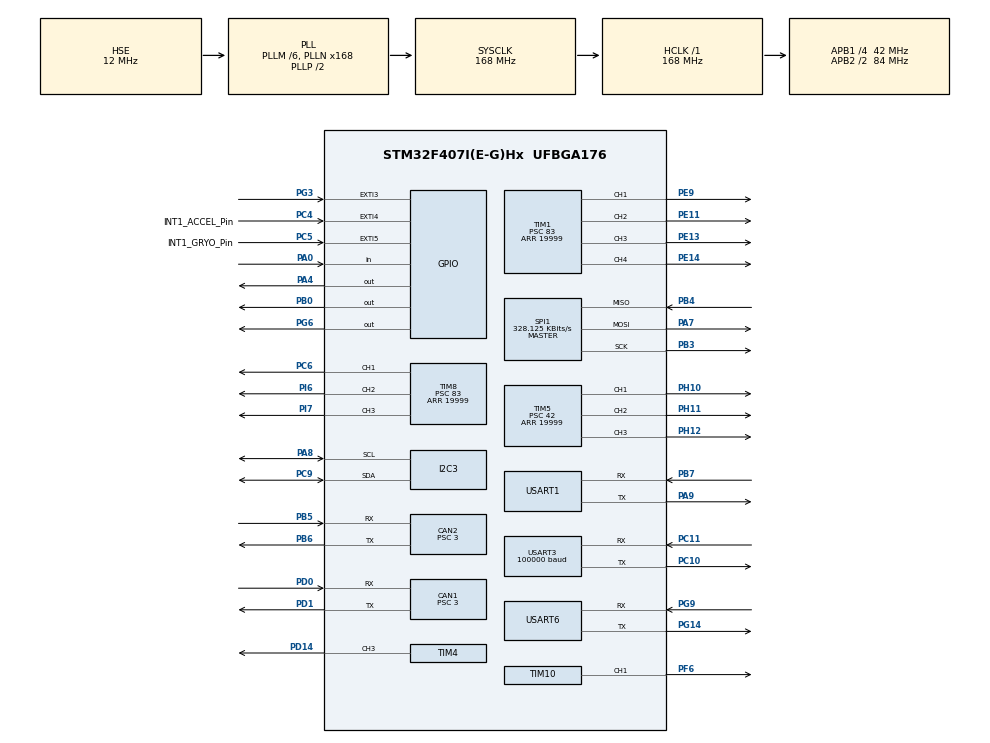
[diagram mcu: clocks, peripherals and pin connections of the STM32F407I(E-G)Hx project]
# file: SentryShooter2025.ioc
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CAN1.BS1=CAN_BS1_10TQ
CAN1.BS2=CAN_BS2_3TQ
CAN1.CalculateBaudRate=1000000
CAN1.CalculateTimeBit=1000
CAN1.CalculateTimeQuantum=71.42857142857143
CAN1.Prescaler=3
CAN2.BS1=CAN_BS1_10TQ
CAN2.BS2=CAN_BS2_3TQ
CAN2.CalculateBaudRate=1000000
CAN2.CalculateTimeBit=1000
CAN2.CalculateTimeQuantum=71.42857142857143
CAN2.Prescaler=3
Dma.Request0=USART3_RX
Dma.Request1=USART1_TX
Dma.Request2=USART1_RX
Dma.Request3=USART6_RX
Dma.Request4=USART6_TX
Dma.USART1_RX.2.Direction=DMA_PERIPH_TO_MEMORY
Dma.USART1_RX.2.FIFOMode=DMA_FIFOMODE_DISABLE
Dma.USART1_RX.2.Instance=DMA2_Stream2
Dma.USART1_RX.2.MemDataAlignment=DMA_MDATAALIGN_BYTE
Dma.USART1_RX.2.MemInc=DMA_MINC_ENABLE
Dma.USART1_RX.2.Mode=DMA_NORMAL
Dma.USART1_RX.2.PeriphDataAlignment=DMA_PDATAALIGN_BYTE
Dma.USART1_RX.2.PeriphInc=DMA_PINC_DISABLE
Dma.USART1_RX.2.Priority=DMA_PRIORITY_VERY_HIGH
Dma.USART1_TX.1.Direction=DMA_MEMORY_TO_PERIPH
Dma.USART1_TX.1.FIFOMode=DMA_FIFOMODE_DISABLE
Dma.USART1_TX.1.Instance=DMA2_Stream7
Dma.USART1_TX.1.MemDataAlignment=DMA_MDATAALIGN_BYTE
Dma.USART1_TX.1.MemInc=DMA_MINC_ENABLE
Dma.USART1_TX.1.Mode=DMA_NORMAL
Dma.USART1_TX.1.PeriphDataAlignment=DMA_PDATAALIGN_BYTE
Dma.USART1_TX.1.PeriphInc=DMA_PINC_DISABLE
Dma.USART1_TX.1.Priority=DMA_PRIORITY_VERY_HIGH
Dma.USART3_RX.0.Direction=DMA_PERIPH_TO_MEMORY
Dma.USART3_RX.0.FIFOMode=DMA_FIFOMODE_DISABLE
Dma.USART3_RX.0.Instance=DMA1_Stream1
Dma.USART3_RX.0.MemDataAlignment=DMA_MDATAALIGN_BYTE
Dma.USART3_RX.0.MemInc=DMA_MINC_ENABLE
Dma.USART3_RX.0.Mode=DMA_CIRCULAR
Dma.USART3_RX.0.PeriphDataAlignment=DMA_PDATAALIGN_BYTE
Dma.USART3_RX.0.PeriphInc=DMA_PINC_DISABLE
Dma.USART3_RX.0.Priority=DMA_PRIORITY_VERY_HIGH
Dma.USART6_RX.3.Direction=DMA_PERIPH_TO_MEMORY
Dma.USART6_RX.3.FIFOMode=DMA_FIFOMODE_DISABLE
Dma.USART6_RX.3.Instance=DMA2_Stream1
Dma.USART6_RX.3.MemDataAlignment=DMA_MDATAALIGN_BYTE
Dma.USART6_RX.3.MemInc=DMA_MINC_ENABLE
Dma.USART6_RX.3.Mode=DMA_NORMAL
Dma.USART6_RX.3.PeriphDataAlignment=DMA_PDATAALIGN_BYTE
Dma.USART6_RX.3.PeriphInc=DMA_PINC_DISABLE
Dma.USART6_RX.3.Priority=DMA_PRIORITY_VERY_HIGH
Dma.USART6_TX.4.Direction=DMA_MEMORY_TO_PERIPH
Dma.USART6_TX.4.FIFOMode=DMA_FIFOMODE_DISABLE
Dma.USART6_TX.4.Instance=DMA2_Stream6
Dma.USART6_TX.4.MemDataAlignment=DMA_MDATAALIGN_BYTE
Dma.USART6_TX.4.MemInc=DMA_MINC_ENABLE
Dma.USART6_TX.4.Mode=DMA_NORMAL
Dma.USART6_TX.4.PeriphDataAlignment=DMA_PDATAALIGN_BYTE
Dma.USART6_TX.4.PeriphInc=DMA_PINC_DISABLE
Dma.USART6_TX.4.Priority=DMA_PRIORITY_VERY_HIGH
FREERTOS.INCLUDE_pcTaskGetTaskName=1
FREERTOS.INCLUDE_xTaskGetHandle=1
FREERTOS.Tasks01=defaultTask,32,1024,TaskMain,Default,NULL,Dynamic,NULL,NULL;chassisTask,40,1024,TaskChassis,Default,NULL,Dynamic,NULL,NULL;IMUtempPIDtask,24,512,imu_temp_control_task,As weak,NULL,Dynamic,NULL,NULL;turretTask,24,1024,TaskTurret,Default,NULL,Dynamic,NULL,NULL
FREERTOS.configUSE_NEWLIB_REENTRANT=1
I2C3.I2C_Mode=I2C_Fast
Mcu.Family=STM32F4
Mcu.Name=STM32F407I(E-G)Hx
Mcu.Package=UFBGA176
NVIC.CAN1_RX0_IRQn=true\:5\:0\:false\:false\:true\:true\:true\:true\:true
NVIC.CAN2_RX0_IRQn=true\:5\:0\:false\:false\:true\:true\:true\:true\:true
NVIC.DMA1_Stream1_IRQn=true\:5\:0\:false\:false\:true\:true\:false\:true\:true
NVIC.DMA2_Stream1_IRQn=true\:5\:0\:false\:false\:true\:true\:false\:true\:true
NVIC.DMA2_Stream2_IRQn=true\:5\:0\:false\:false\:true\:true\:false\:true\:true
NVIC.DMA2_Stream6_IRQn=true\:5\:0\:false\:false\:true\:true\:false\:true\:true
NVIC.DMA2_Stream7_IRQn=true\:5\:0\:false\:false\:true\:true\:false\:true\:true
NVIC.EXTI3_IRQn=true\:5\:0\:false\:false\:true\:true\:true\:true\:true
NVIC.EXTI4_IRQn=true\:5\:0\:false\:false\:true\:true\:true\:true\:true
NVIC.PriorityGroup=NVIC_PRIORITYGROUP_4
NVIC.USART1_IRQn=true\:5\:0\:false\:false\:true\:true\:true\:true\:true
NVIC.USART3_IRQn=true\:5\:0\:false\:false\:false\:true\:true\:true\:true
NVIC.USART6_IRQn=true\:5\:0\:false\:false\:true\:true\:true\:true\:true
PA0-WKUP.Signal=GPIO_Input
PA13.Mode=Serial_Wire
PA13.Signal=SYS_JTMS-SWDIO
PA14.Mode=Serial_Wire
PA14.Signal=SYS_JTCK-SWCLK
PA4.Signal=GPIO_Output
PA7.Mode=Full_Duplex_Master
PA7.Signal=SPI1_MOSI
PA8.Mode=I2C
PA8.Signal=I2C3_SCL
PA9.Mode=Asynchronous
PA9.Signal=USART1_TX
PB0.Signal=GPIO_Output
PB3.Mode=Full_Duplex_Master
PB3.Signal=SPI1_SCK
PB4.Mode=Full_Duplex_Master
PB4.Signal=SPI1_MISO
PB5.Mode=CAN_Activate
PB5.Signal=CAN2_RX
PB6.Mode=CAN_Activate
PB6.Signal=CAN2_TX
PB7.Mode=Asynchronous
PB7.Signal=USART1_RX
PC10.Mode=Asynchronous
PC10.Signal=USART3_TX
PC11.Mode=Asynchronous
PC11.Signal=USART3_RX
PC4.GPIO_Label=INT1_ACCEL_Pin
PC4.Signal=GPXTI4
PC5.GPIO_Label=INT1_GRYO_Pin
PC5.Signal=GPXTI5
PC6.Signal=S_TIM8_CH1
PC9.Mode=I2C
PC9.Signal=I2C3_SDA
PD0.Mode=CAN_Activate
PD0.Signal=CAN1_RX
PD1.Mode=CAN_Activate
PD1.Signal=CAN1_TX
PD14.Signal=S_TIM4_CH3
PE11.Signal=S_TIM1_CH2
PE13.Signal=S_TIM1_CH3
PE14.Signal=S_TIM1_CH4
PE9.Signal=S_TIM1_CH1
PF6.GPIO_PuPd=GPIO_PULLUP
PF6.GPIO_Speed=GPIO_SPEED_FREQ_HIGH
PF6.Signal=S_TIM10_CH1
PG14.Mode=Asynchronous
PG14.Signal=USART6_TX
PG3.Signal=GPXTI3
PG6.Signal=GPIO_Output
PG9.Mode=Asynchronous
PG9.Signal=USART6_RX
PH0-OSC_IN.Mode=HSE-External-Oscillator
PH0-OSC_IN.Signal=RCC_OSC_IN
PH1-OSC_OUT.Mode=HSE-External-Oscillator
PH1-OSC_OUT.Signal=RCC_OSC_OUT
PH10.Signal=S_TIM5_CH1
PH11.Signal=S_TIM5_CH2
PH12.Signal=S_TIM5_CH3
PI6.Signal=S_TIM8_CH2
PI7.Signal=S_TIM8_CH3
ProjectManager.HeapSize=0x200
ProjectManager.StackSize=0x400
ProjectManager.TargetToolchain=STM32CubeIDE
RCC.48MHZClocksFreq_Value=84000000
RCC.AHBFreq_Value=168000000
RCC.APB1CLKDivider=RCC_HCLK_DIV4
RCC.APB1Freq_Value=42000000
RCC.APB1TimFreq_Value=84000000
RCC.APB2CLKDivider=RCC_HCLK_DIV2
RCC.APB2Freq_Value=84000000
RCC.APB2TimFreq_Value=168000000
RCC.CortexFreq_Value=168000000
RCC.EnbaleCSS=true
RCC.HCLKFreq_Value=168000000
RCC.HSE_VALUE=12000000
RCC.HSI_VALUE=16000000
RCC.LSE_VALUE=32768
RCC.PLLM=6
RCC.PLLN=168
RCC.PLLSourceVirtual=RCC_PLLSOURCE_HSE
RCC.SYSCLKFreq_VALUE=168000000
RCC.SYSCLKSource=RCC_SYSCLKSOURCE_PLLCLK
RCC.VCOOutputFreq_Value=336000000
SH.S_TIM10_CH1.0=TIM10_CH1,PWM Generation1 CH1
SH.S_TIM1_CH1.0=TIM1_CH1,PWM Generation1 CH1
SH.S_TIM1_CH2.0=TIM1_CH2,PWM Generation2 CH2
SH.S_TIM1_CH3.0=TIM1_CH3,PWM Generation3 CH3
SH.S_TIM1_CH4.0=TIM1_CH4,PWM Generation4 CH4
SH.S_TIM4_CH3.0=TIM4_CH3,PWM Generation3 CH3
SH.S_TIM5_CH1.0=TIM5_CH1,PWM Generation1 CH1
SH.S_TIM5_CH2.0=TIM5_CH2,PWM Generation2 CH2
SH.S_TIM5_CH3.0=TIM5_CH3,PWM Generation3 CH3
SH.S_TIM8_CH1.0=TIM8_CH1,PWM Generation1 CH1
SH.S_TIM8_CH2.0=TIM8_CH2,PWM Generation2 CH2
SH.S_TIM8_CH3.0=TIM8_CH3,PWM Generation3 CH3
SPI1.BaudRatePrescaler=SPI_BAUDRATEPRESCALER_256
SPI1.CLKPhase=SPI_PHASE_2EDGE
SPI1.CLKPolarity=SPI_POLARITY_HIGH
SPI1.CalculateBaudRate=328.125 KBits/s
SPI1.Direction=SPI_DIRECTION_2LINES
SPI1.Mode=SPI_MODE_MASTER
SPI1.VirtualType=VM_MASTER
TIM1.AutoReloadPreload=TIM_AUTORELOAD_PRELOAD_DISABLE
TIM1.Channel-PWM\ Generation1\ CH1=TIM_CHANNEL_1
TIM1.Channel-PWM\ Generation2\ CH2=TIM_CHANNEL_2
TIM1.Channel-PWM\ Generation3\ CH3=TIM_CHANNEL_3
TIM1.Channel-PWM\ Generation4\ CH4=TIM_CHANNEL_4
TIM1.Period=19999
TIM1.Prescaler=83
TIM1.Pulse-PWM\ Generation1\ CH1=0
TIM10.Channel=TIM_CHANNEL_1
TIM10.Period=4999
TIM4.AutoReloadPreload=TIM_AUTORELOAD_PRELOAD_ENABLE
TIM4.Channel-PWM\ Generation3\ CH3=TIM_CHANNEL_3
TIM4.Period=20999
TIM4.Pulse-PWM\ Generation3\ CH3=10499
TIM5.Channel-PWM\ Generation1\ CH1=TIM_CHANNEL_1
TIM5.Channel-PWM\ Generation2\ CH2=TIM_CHANNEL_2
TIM5.Channel-PWM\ Generation3\ CH3=TIM_CHANNEL_3
TIM5.Period=19999
TIM5.Prescaler=42
TIM8.AutoReloadPreload=TIM_AUTORELOAD_PRELOAD_ENABLE
TIM8.Channel-PWM\ Generation1\ CH1=TIM_CHANNEL_1
TIM8.Channel-PWM\ Generation2\ CH2=TIM_CHANNEL_2
TIM8.Channel-PWM\ Generation3\ CH3=TIM_CHANNEL_3
TIM8.Period=19999
TIM8.Prescaler=83
USART1.VirtualMode=VM_ASYNC
USART3.BaudRate=100000
USART3.Parity=PARITY_EVEN
USART3.VirtualMode=VM_ASYNC
USART6.VirtualMode=VM_ASYNC
VP_FREERTOS_VS_CMSIS_V2.Mode=CMSIS_V2
VP_TIM10_VS_ClockSourceINT.Mode=Enable_Timer
VP_TIM4_VS_ClockSourceINT.Mode=Internal
board=custom

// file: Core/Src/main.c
/* USER CODE BEGIN Header */
/**
  ******************************************************************************
  * @file           : main.c
  * @brief          : Main program body
  ******************************************************************************
  * @attention
  *
  * Copyright (c) 2024 STMicroelectronics.
  * All rights reserved.
  *
  * This software is licensed under terms that can be found in the LICENSE file
  * in the root directory of this software component.
  * If no LICENSE file comes with this software, it is provided AS-IS.
  *
  ******************************************************************************
  */
/* USER CODE END Header */
#include "main.h"
#include "cmsis_os.h"

/* USER CODE BEGIN Includes */
//#include "CAN_receive.h"
#include "CAN.h"
#include "bsp_can.h"
#include "remote_control.h"
#include "bsp_rc.h"
#include "UART.h"
#include "stdio.h"
#include "stdarg.h"
#include "string.h"
#include "BMI088driver.h"
#include "pid.h"
#include "bsp_imu_pwm.h"
#include "ist8310driver.h"
#include "pwm.h"
#include "songs.h"
#include "buffer.h"
#include "math.h"
#include "driving.h"
#include "I2C.h"
/* USER CODE END Includes */

CAN_HandleTypeDef hcan1;
CAN_HandleTypeDef hcan2;

I2C_HandleTypeDef hi2c3;

SPI_HandleTypeDef hspi1;

TIM_HandleTypeDef htim1;
TIM_HandleTypeDef htim4;
TIM_HandleTypeDef htim5;
TIM_HandleTypeDef htim8;
TIM_HandleTypeDef htim10;

UART_HandleTypeDef huart1;
UART_HandleTypeDef huart3;
UART_HandleTypeDef huart6;
DMA_HandleTypeDef hdma_usart1_tx;
DMA_HandleTypeDef hdma_usart1_rx;
DMA_HandleTypeDef hdma_usart3_rx;
DMA_HandleTypeDef hdma_usart6_rx;
DMA_HandleTypeDef hdma_usart6_tx;

/* Definitions for defaultTask */
osThreadId_t defaultTaskHandle;
const osThreadAttr_t defaultTask_attributes = {
  .name = "defaultTask",
  .stack_size = 1024 * 4,
  .priority = (osPriority_t) osPriorityAboveNormal,
};
/* Definitions for chassisTask */
osThreadId_t chassisTaskHandle;
const osThreadAttr_t chassisTask_attributes = {
  .name = "chassisTask",
  .stack_size = 1024 * 4,
  .priority = (osPriority_t) osPriorityHigh,
};
/* Definitions for IMUtempPIDtask */
osThreadId_t IMUtempPIDtaskHandle;
const osThreadAttr_t IMUtempPIDtask_attributes = {
  .name = "IMUtempPIDtask",
  .stack_size = 512 * 4,
  .priority = (osPriority_t) osPriorityNormal,
};
/* Definitions for turretTask */
osThreadId_t turretTaskHandle;
const osThreadAttr_t turretTask_attributes = {
  .name = "turretTask",
  .stack_size = 1024 * 4,
  .priority = (osPriority_t) osPriorityNormal,
};
/* USER CODE BEGIN PV */
const RC_ctrl_t *local_rc_ctrl;
//3.6 0.015, 4.2
PID_preset_t chassisPreset = {3.6, 0, 0};  //0.8f, 0.025f, 0.95f   {1.6, 0.045, 0.10}; 32 0.4
PID_preset_t yawPresetCurrentRPM = {46, 10.0, 16.4};

PID_preset_t yawPresetCurrentPosition = {12, 1, 0.0};
PID_preset_t yawPresetVoltagePosition = {36, 0.3, 0.0};

int16_t joystickTunner = 0;

// 50, 0, 110
PID_preset_t pitchPresetVoltagePosition = {70.0, 0.0, 421.0};
PID_preset_t indexerPreset = {1.1f, 0.02f, -2.4f};
PID_preset_t shooterPreset = {1.20f, 0.12f, 1.60f};
PID_preset_t powerPreset = {0, 0.000000000001, 0};
PID_preset_t flywheel = {12, 0, 0};
PID_preset_t customPreset = {0, 0, 0};

int target = 2000;
float JoulesBuffer = 60;
float maxPower = 0;
uint32_t PowerLimitor = 400;

float mouseXScaler = 0.85;
float mouseYScaler = 0.17;

extern game_status_t game_status;
extern power_heat_data_t power_heat_data;
extern robot_status_t robot_status;
extern pc_control_t pc_control;

float calcChassisPower = 0;

/* USER CODE END PV */

void SystemClock_Config(void);
static void MX_GPIO_Init(void);
static void MX_DMA_Init(void);
static void MX_CAN1_Init(void);
static void MX_CAN2_Init(void);
static void MX_SPI1_Init(void);
static void MX_TIM4_Init(void);
static void MX_USART1_UART_Init(void);
static void MX_USART6_UART_Init(void);
static void MX_TIM1_Init(void);
static void MX_TIM8_Init(void);
static void MX_USART3_UART_Init(void);
static void MX_TIM10_Init(void);
static void MX_I2C3_Init(void);
static void MX_TIM5_Init(void);
void TaskMain(void *argument);
void TaskChassis(void *argument);
void imu_temp_control_task(void *argument);
void TaskTurret(void *argument);

int main(void)
{

  /* MCU Configuration--------------------------------------------------------*/

  /* Reset of all peripherals, Initializes the Flash interface and the Systick. */
  HAL_Init();

  /* Configure the system clock */
  SystemClock_Config();

  /* Initialize all configured peripherals */
  MX_GPIO_Init();
  MX_DMA_Init();
  MX_CAN1_Init();
  MX_CAN2_Init();
  MX_SPI1_Init();
  MX_TIM4_Init();
  MX_USART1_UART_Init();
  MX_USART6_UART_Init();
  MX_TIM1_Init();
  MX_TIM8_Init();
  MX_USART3_UART_Init();
  MX_TIM10_Init();
  MX_I2C3_Init();
  MX_TIM5_Init();
  /* USER CODE BEGIN 2 */
  can_filter_init();
  remote_control_init();
  usart_Init();
  local_rc_ctrl = get_remote_control_point();
  //__HAL_UART_ENABLE_IT(&huart1,UART_IT_IDLE);
  /* USER CODE END 2 */

  /* Init scheduler */
  osKernelInitialize();

  /* Create the thread(s) */
  /* creation of defaultTask */
  defaultTaskHandle = osThreadNew(TaskMain, NULL, &defaultTask_attributes);

  /* creation of chassisTask */
  chassisTaskHandle = osThreadNew(TaskChassis, NULL, &chassisTask_attributes);

  /* creation of IMUtempPIDtask */
  IMUtempPIDtaskHandle = osThreadNew(imu_temp_control_task, NULL, &IMUtempPIDtask_attributes);

  /* creation of turretTask */
  turretTaskHandle = osThreadNew(TaskTurret, NULL, &turretTask_attributes);

  /* Start scheduler */
  osKernelStart();
  /* We should never get here as control is now taken by the scheduler */
  /* Infinite loop */
  while (1)
  {

  }
}

void SystemClock_Config(void)
{
  RCC_OscInitTypeDef RCC_OscInitStruct = {0};
  RCC_ClkInitTypeDef RCC_ClkInitStruct = {0};

  /** Configure the main internal regulator output voltage
  */
  __HAL_RCC_PWR_CLK_ENABLE();
  __HAL_PWR_VOLTAGESCALING_CONFIG(PWR_REGULATOR_VOLTAGE_SCALE1);

  /** Initializes the RCC Oscillators according to the specified parameters
  * in the RCC_OscInitTypeDef structure.
  */
  RCC_OscInitStruct.OscillatorType = RCC_OSCILLATORTYPE_HSE;
  RCC_OscInitStruct.HSEState = RCC_HSE_ON;
  RCC_OscInitStruct.PLL.PLLState = RCC_PLL_ON;
  RCC_OscInitStruct.PLL.PLLSource = RCC_PLLSOURCE_HSE;
  RCC_OscInitStruct.PLL.PLLM = 6;
  RCC_OscInitStruct.PLL.PLLN = 168;
  RCC_OscInitStruct.PLL.PLLP = RCC_PLLP_DIV2;
  RCC_OscInitStruct.PLL.PLLQ = 4;
  if (HAL_RCC_OscConfig(&RCC_OscInitStruct) != HAL_OK)
  {
    Error_Handler();
  }

  /** Initializes the CPU, AHB and APB buses clocks
  */
  RCC_ClkInitStruct.ClockType = RCC_CLOCKTYPE_HCLK|RCC_CLOCKTYPE_SYSCLK
                              |RCC_CLOCKTYPE_PCLK1|RCC_CLOCKTYPE_PCLK2;
  RCC_ClkInitStruct.SYSCLKSource = RCC_SYSCLKSOURCE_PLLCLK;
  RCC_ClkInitStruct.AHBCLKDivider = RCC_SYSCLK_DIV1;
  RCC_ClkInitStruct.APB1CLKDivider = RCC_HCLK_DIV4;
  RCC_ClkInitStruct.APB2CLKDivider = RCC_HCLK_DIV2;

  if (HAL_RCC_ClockConfig(&RCC_ClkInitStruct, FLASH_LATENCY_5) != HAL_OK)
  {
    Error_Handler();
  }

  /** Enables the Clock Security System
  */
  HAL_RCC_EnableCSS();
}

static void MX_CAN1_Init(void)
{

  hcan1.Instance = CAN1;
  hcan1.Init.Prescaler = 3;
  hcan1.Init.Mode = CAN_MODE_NORMAL;
  hcan1.Init.SyncJumpWidth = CAN_SJW_1TQ;
  hcan1.Init.TimeSeg1 = CAN_BS1_10TQ;
  hcan1.Init.TimeSeg2 = CAN_BS2_3TQ;
  hcan1.Init.TimeTriggeredMode = DISABLE;
  hcan1.Init.AutoBusOff = DISABLE;
  hcan1.Init.AutoWakeUp = DISABLE;
  hcan1.Init.AutoRetransmission = DISABLE;
  hcan1.Init.ReceiveFifoLocked = DISABLE;
  hcan1.Init.TransmitFifoPriority = DISABLE;
  if (HAL_CAN_Init(&hcan1) != HAL_OK)
  {
    Error_Handler();
  }

}

static void MX_CAN2_Init(void)
{

  hcan2.Instance = CAN2;
  hcan2.Init.Prescaler = 3;
  hcan2.Init.Mode = CAN_MODE_NORMAL;
  hcan2.Init.SyncJumpWidth = CAN_SJW_1TQ;
  hcan2.Init.TimeSeg1 = CAN_BS1_10TQ;
  hcan2.Init.TimeSeg2 = CAN_BS2_3TQ;
  hcan2.Init.TimeTriggeredMode = DISABLE;
  hcan2.Init.AutoBusOff = DISABLE;
  hcan2.Init.AutoWakeUp = DISABLE;
  hcan2.Init.AutoRetransmission = DISABLE;
  hcan2.Init.ReceiveFifoLocked = DISABLE;
  hcan2.Init.TransmitFifoPriority = DISABLE;
  if (HAL_CAN_Init(&hcan2) != HAL_OK)
  {
    Error_Handler();
  }

}

static void MX_I2C3_Init(void)
{

  hi2c3.Instance = I2C3;
  hi2c3.Init.ClockSpeed = 400000;
  hi2c3.Init.DutyCycle = I2C_DUTYCYCLE_2;
  hi2c3.Init.OwnAddress1 = 0;
  hi2c3.Init.AddressingMode = I2C_ADDRESSINGMODE_7BIT;
  hi2c3.Init.DualAddressMode = I2C_DUALADDRESS_DISABLE;
  hi2c3.Init.OwnAddress2 = 0;
  hi2c3.Init.GeneralCallMode = I2C_GENERALCALL_DISABLE;
  hi2c3.Init.NoStretchMode = I2C_NOSTRETCH_DISABLE;
  if (HAL_I2C_Init(&hi2c3) != HAL_OK)
  {
    Error_Handler();
  }

}

static void MX_SPI1_Init(void)
{

  /* SPI1 parameter configuration*/
  hspi1.Instance = SPI1;
  hspi1.Init.Mode = SPI_MODE_MASTER;
  hspi1.Init.Direction = SPI_DIRECTION_2LINES;
  hspi1.Init.DataSize = SPI_DATASIZE_8BIT;
  hspi1.Init.CLKPolarity = SPI_POLARITY_HIGH;
  hspi1.Init.CLKPhase = SPI_PHASE_2EDGE;
  hspi1.Init.NSS = SPI_NSS_SOFT;
  hspi1.Init.BaudRatePrescaler = SPI_BAUDRATEPRESCALER_256;
  hspi1.Init.FirstBit = SPI_FIRSTBIT_MSB;
  hspi1.Init.TIMode = SPI_TIMODE_DISABLE;
  hspi1.Init.CRCCalculation = SPI_CRCCALCULATION_DISABLE;
  hspi1.Init.CRCPolynomial = 10;
  if (HAL_SPI_Init(&hspi1) != HAL_OK)
  {
    Error_Handler();
  }

}

static void MX_TIM1_Init(void)
{

  TIM_MasterConfigTypeDef sMasterConfig = {0};
  TIM_OC_InitTypeDef sConfigOC = {0};
  TIM_BreakDeadTimeConfigTypeDef sBreakDeadTimeConfig = {0};

  htim1.Instance = TIM1;
  htim1.Init.Prescaler = 83;
  htim1.Init.CounterMode = TIM_COUNTERMODE_UP;
  htim1.Init.Period = 19999;
  htim1.Init.ClockDivision = TIM_CLOCKDIVISION_DIV1;
  htim1.Init.RepetitionCounter = 0;
  htim1.Init.AutoReloadPreload = TIM_AUTORELOAD_PRELOAD_DISABLE;
  if (HAL_TIM_PWM_Init(&htim1) != HAL_OK)
  {
    Error_Handler();
  }
  sMasterConfig.MasterOutputTrigger = TIM_TRGO_RESET;
  sMasterConfig.MasterSlaveMode = TIM_MASTERSLAVEMODE_DISABLE;
  if (HAL_TIMEx_MasterConfigSynchronization(&htim1, &sMasterConfig) != HAL_OK)
  {
    Error_Handler();
  }
  sConfigOC.OCMode = TIM_OCMODE_PWM1;
  sConfigOC.Pulse = 0;
  sConfigOC.OCPolarity = TIM_OCPOLARITY_HIGH;
  sConfigOC.OCNPolarity = TIM_OCNPOLARITY_HIGH;
  sConfigOC.OCFastMode = TIM_OCFAST_DISABLE;
  sConfigOC.OCIdleState = TIM_OCIDLESTATE_RESET;
  sConfigOC.OCNIdleState = TIM_OCNIDLESTATE_RESET;
  if (HAL_TIM_PWM_ConfigChannel(&htim1, &sConfigOC, TIM_CHANNEL_1) != HAL_OK)
  {
    Error_Handler();
  }
  if (HAL_TIM_PWM_ConfigChannel(&htim1, &sConfigOC, TIM_CHANNEL_2) != HAL_OK)
  {
    Error_Handler();
  }
  if (HAL_TIM_PWM_ConfigChannel(&htim1, &sConfigOC, TIM_CHANNEL_3) != HAL_OK)
  {
    Error_Handler();
  }
  if (HAL_TIM_PWM_ConfigChannel(&htim1, &sConfigOC, TIM_CHANNEL_4) != HAL_OK)
  {
    Error_Handler();
  }
  sBreakDeadTimeConfig.OffStateRunMode = TIM_OSSR_DISABLE;
  sBreakDeadTimeConfig.OffStateIDLEMode = TIM_OSSI_DISABLE;
  sBreakDeadTimeConfig.LockLevel = TIM_LOCKLEVEL_OFF;
  sBreakDeadTimeConfig.DeadTime = 0;
  sBreakDeadTimeConfig.BreakState = TIM_BREAK_DISABLE;
  sBreakDeadTimeConfig.BreakPolarity = TIM_BREAKPOLARITY_HIGH;
  sBreakDeadTimeConfig.AutomaticOutput = TIM_AUTOMATICOUTPUT_DISABLE;
  if (HAL_TIMEx_ConfigBreakDeadTime(&htim1, &sBreakDeadTimeConfig) != HAL_OK)
  {
    Error_Handler();
  }
  HAL_TIM_MspPostInit(&htim1);

}

static void MX_TIM4_Init(void)
{

  TIM_ClockConfigTypeDef sClockSourceConfig = {0};
  TIM_MasterConfigTypeDef sMasterConfig = {0};
  TIM_OC_InitTypeDef sConfigOC = {0};

  htim4.Instance = TIM4;
  htim4.Init.Prescaler = 0;
  htim4.Init.CounterMode = TIM_COUNTERMODE_UP;
  htim4.Init.Period = 20999;
  htim4.Init.ClockDivision = TIM_CLOCKDIVISION_DIV1;
  htim4.Init.AutoReloadPreload = TIM_AUTORELOAD_PRELOAD_ENABLE;
  if (HAL_TIM_Base_Init(&htim4) != HAL_OK)
  {
    Error_Handler();
  }
  sClockSourceConfig.ClockSource = TIM_CLOCKSOURCE_INTERNAL;
  if (HAL_TIM_ConfigClockSource(&htim4, &sClockSourceConfig) != HAL_OK)
  {
    Error_Handler();
  }
  if (HAL_TIM_PWM_Init(&htim4) != HAL_OK)
  {
    Error_Handler();
  }
  sMasterConfig.MasterOutputTrigger = TIM_TRGO_RESET;
  sMasterConfig.MasterSlaveMode = TIM_MASTERSLAVEMODE_DISABLE;
  if (HAL_TIMEx_MasterConfigSynchronization(&htim4, &sMasterConfig) != HAL_OK)
  {
    Error_Handler();
  }
  sConfigOC.OCMode = TIM_OCMODE_PWM1;
  sConfigOC.Pulse = 10499;
  sConfigOC.OCPolarity = TIM_OCPOLARITY_HIGH;
  sConfigOC.OCFastMode = TIM_OCFAST_DISABLE;
  if (HAL_TIM_PWM_ConfigChannel(&htim4, &sConfigOC, TIM_CHANNEL_3) != HAL_OK)
  {
    Error_Handler();
  }
  HAL_TIM_MspPostInit(&htim4);

}

static void MX_TIM5_Init(void)
{

  TIM_MasterConfigTypeDef sMasterConfig = {0};
  TIM_OC_InitTypeDef sConfigOC = {0};

  htim5.Instance = TIM5;
  htim5.Init.Prescaler = 42;
  htim5.Init.CounterMode = TIM_COUNTERMODE_UP;
  htim5.Init.Period = 19999;
  htim5.Init.ClockDivision = TIM_CLOCKDIVISION_DIV1;
  htim5.Init.AutoReloadPreload = TIM_AUTORELOAD_PRELOAD_DISABLE;
  if (HAL_TIM_PWM_Init(&htim5) != HAL_OK)
  {
    Error_Handler();
  }
  sMasterConfig.MasterOutputTrigger = TIM_TRGO_RESET;
  sMasterConfig.MasterSlaveMode = TIM_MASTERSLAVEMODE_DISABLE;
  if (HAL_TIMEx_MasterConfigSynchronization(&htim5, &sMasterConfig) != HAL_OK)
  {
    Error_Handler();
  }
  sConfigOC.OCMode = TIM_OCMODE_PWM1;
  sConfigOC.Pulse = 0;
  sConfigOC.OCPolarity = TIM_OCPOLARITY_HIGH;
  sConfigOC.OCFastMode = TIM_OCFAST_DISABLE;
  if (HAL_TIM_PWM_ConfigChannel(&htim5, &sConfigOC, TIM_CHANNEL_1) != HAL_OK)
  {
    Error_Handler();
  }
  if (HAL_TIM_PWM_ConfigChannel(&htim5, &sConfigOC, TIM_CHANNEL_2) != HAL_OK)
  {
    Error_Handler();
  }
  if (HAL_TIM_PWM_ConfigChannel(&htim5, &sConfigOC, TIM_CHANNEL_3) != HAL_OK)
  {
    Error_Handler();
  }
  HAL_TIM_MspPostInit(&htim5);

}

static void MX_TIM8_Init(void)
{

  TIM_MasterConfigTypeDef sMasterConfig = {0};
  TIM_OC_InitTypeDef sConfigOC = {0};
  TIM_BreakDeadTimeConfigTypeDef sBreakDeadTimeConfig = {0};

  htim8.Instance = TIM8;
  htim8.Init.Prescaler = 83;
  htim8.Init.CounterMode = TIM_COUNTERMODE_UP;
  htim8.Init.Period = 19999;
  htim8.Init.ClockDivision = TIM_CLOCKDIVISION_DIV1;
  htim8.Init.RepetitionCounter = 0;
  htim8.Init.AutoReloadPreload = TIM_AUTORELOAD_PRELOAD_ENABLE;
  if (HAL_TIM_PWM_Init(&htim8) != HAL_OK)
  {
    Error_Handler();
  }
  sMasterConfig.MasterOutputTrigger = TIM_TRGO_RESET;
  sMasterConfig.MasterSlaveMode = TIM_MASTERSLAVEMODE_DISABLE;
  if (HAL_TIMEx_MasterConfigSynchronization(&htim8, &sMasterConfig) != HAL_OK)
  {
    Error_Handler();
  }
  sConfigOC.OCMode = TIM_OCMODE_PWM1;
  sConfigOC.Pulse = 0;
  sConfigOC.OCPolarity = TIM_OCPOLARITY_HIGH;
  sConfigOC.OCNPolarity = TIM_OCNPOLARITY_HIGH;
  sConfigOC.OCFastMode = TIM_OCFAST_DISABLE;
  sConfigOC.OCIdleState = TIM_OCIDLESTATE_RESET;
  sConfigOC.OCNIdleState = TIM_OCNIDLESTATE_RESET;
  if (HAL_TIM_PWM_ConfigChannel(&htim8, &sConfigOC, TIM_CHANNEL_1) != HAL_OK)
  {
    Error_Handler();
  }
  if (HAL_TIM_PWM_ConfigChannel(&htim8, &sConfigOC, TIM_CHANNEL_2) != HAL_OK)
  {
    Error_Handler();
  }
  if (HAL_TIM_PWM_ConfigChannel(&htim8, &sConfigOC, TIM_CHANNEL_3) != HAL_OK)
  {
    Error_Handler();
  }
  sBreakDeadTimeConfig.OffStateRunMode = TIM_OSSR_DISABLE;
  sBreakDeadTimeConfig.OffStateIDLEMode = TIM_OSSI_DISABLE;
  sBreakDeadTimeConfig.LockLevel = TIM_LOCKLEVEL_OFF;
  sBreakDeadTimeConfig.DeadTime = 0;
  sBreakDeadTimeConfig.BreakState = TIM_BREAK_DISABLE;
  sBreakDeadTimeConfig.BreakPolarity = TIM_BREAKPOLARITY_HIGH;
  sBreakDeadTimeConfig.AutomaticOutput = TIM_AUTOMATICOUTPUT_DISABLE;
  if (HAL_TIMEx_ConfigBreakDeadTime(&htim8, &sBreakDeadTimeConfig) != HAL_OK)
  {
    Error_Handler();
  }
  HAL_TIM_MspPostInit(&htim8);

}

static void MX_TIM10_Init(void)
{

  TIM_OC_InitTypeDef sConfigOC = {0};

  htim10.Instance = TIM10;
  htim10.Init.Prescaler = 0;
  htim10.Init.CounterMode = TIM_COUNTERMODE_UP;
  htim10.Init.Period = 4999;
  htim10.Init.ClockDivision = TIM_CLOCKDIVISION_DIV1;
  htim10.Init.AutoReloadPreload = TIM_AUTORELOAD_PRELOAD_DISABLE;
  if (HAL_TIM_Base_Init(&htim10) != HAL_OK)
  {
    Error_Handler();
  }
  if (HAL_TIM_PWM_Init(&htim10) != HAL_OK)
  {
    Error_Handler();
  }
  sConfigOC.OCMode = TIM_OCMODE_PWM1;
  sConfigOC.Pulse = 0;
  sConfigOC.OCPolarity = TIM_OCPOLARITY_HIGH;
  sConfigOC.OCFastMode = TIM_OCFAST_DISABLE;
  if (HAL_TIM_PWM_ConfigChannel(&htim10, &sConfigOC, TIM_CHANNEL_1) != HAL_OK)
  {
    Error_Handler();
  }
  HAL_TIM_MspPostInit(&htim10);

}

static void MX_USART1_UART_Init(void)
{

  huart1.Instance = USART1;
  huart1.Init.BaudRate = 115200;
  huart1.Init.WordLength = UART_WORDLENGTH_8B;
  huart1.Init.StopBits = UART_STOPBITS_1;
  huart1.Init.Parity = UART_PARITY_NONE;
  huart1.Init.Mode = UART_MODE_TX_RX;
  huart1.Init.HwFlowCtl = UART_HWCONTROL_NONE;
  huart1.Init.OverSampling = UART_OVERSAMPLING_16;
  if (HAL_UART_Init(&huart1) != HAL_OK)
  {
    Error_Handler();
  }

}

static void MX_USART3_UART_Init(void)
{

  huart3.Instance = USART3;
  huart3.Init.BaudRate = 100000;
  huart3.Init.WordLength = UART_WORDLENGTH_8B;
  huart3.Init.StopBits = UART_STOPBITS_1;
  huart3.Init.Parity = UART_PARITY_EVEN;
  huart3.Init.Mode = UART_MODE_TX_RX;
  huart3.Init.HwFlowCtl = UART_HWCONTROL_NONE;
  huart3.Init.OverSampling = UART_OVERSAMPLING_16;
  if (HAL_UART_Init(&huart3) != HAL_OK)
  {
    Error_Handler();
  }

}

static void MX_USART6_UART_Init(void)
{

  huart6.Instance = USART6;
  huart6.Init.BaudRate = 115200;
  huart6.Init.WordLength = UART_WORDLENGTH_8B;
  huart6.Init.StopBits = UART_STOPBITS_1;
  huart6.Init.Parity = UART_PARITY_NONE;
  huart6.Init.Mode = UART_MODE_TX_RX;
  huart6.Init.HwFlowCtl = UART_HWCONTROL_NONE;
  huart6.Init.OverSampling = UART_OVERSAMPLING_16;
  if (HAL_UART_Init(&huart6) != HAL_OK)
  {
    Error_Handler();
  }

}

static void MX_DMA_Init(void)
{

  /* DMA controller clock enable */
  __HAL_RCC_DMA1_CLK_ENABLE();
  __HAL_RCC_DMA2_CLK_ENABLE();

  /* DMA interrupt init */
  /* DMA1_Stream1_IRQn interrupt configuration */
  HAL_NVIC_SetPriority(DMA1_Stream1_IRQn, 5, 0);
  HAL_NVIC_EnableIRQ(DMA1_Stream1_IRQn);
  /* DMA2_Stream1_IRQn interrupt configuration */
  HAL_NVIC_SetPriority(DMA2_Stream1_IRQn, 5, 0);
  HAL_NVIC_EnableIRQ(DMA2_Stream1_IRQn);
  /* DMA2_Stream2_IRQn interrupt configuration */
  HAL_NVIC_SetPriority(DMA2_Stream2_IRQn, 5, 0);
  HAL_NVIC_EnableIRQ(DMA2_Stream2_IRQn);
  /* DMA2_Stream6_IRQn interrupt configuration */
  HAL_NVIC_SetPriority(DMA2_Stream6_IRQn, 5, 0);
  HAL_NVIC_EnableIRQ(DMA2_Stream6_IRQn);
  /* DMA2_Stream7_IRQn interrupt configuration */
  HAL_NVIC_SetPriority(DMA2_Stream7_IRQn, 5, 0);
  HAL_NVIC_EnableIRQ(DMA2_Stream7_IRQn);

}

static void MX_GPIO_Init(void)
{
  GPIO_InitTypeDef GPIO_InitStruct = {0};

  /* GPIO Ports Clock Enable */
  __HAL_RCC_GPIOB_CLK_ENABLE();
  __HAL_RCC_GPIOG_CLK_ENABLE();
  __HAL_RCC_GPIOA_CLK_ENABLE();
  __HAL_RCC_GPIOD_CLK_ENABLE();
  __HAL_RCC_GPIOC_CLK_ENABLE();
  __HAL_RCC_GPIOI_CLK_ENABLE();
  __HAL_RCC_GPIOH_CLK_ENABLE();
  __HAL_RCC_GPIOF_CLK_ENABLE();
  __HAL_RCC_GPIOE_CLK_ENABLE();

  /*Configure GPIO pin Output Level */
  HAL_GPIO_WritePin(GPIOG, GPIO_PIN_6, GPIO_PIN_RESET);

  /*Configure GPIO pin Output Level */
  HAL_GPIO_WritePin(GPIOA, GPIO_PIN_4, GPIO_PIN_RESET);

  /*Configure GPIO pin Output Level */
  HAL_GPIO_WritePin(GPIOB, GPIO_PIN_0, GPIO_PIN_RESET);

  /*Configure GPIO pin : PG6 */
  GPIO_InitStruct.Pin = GPIO_PIN_6;
  GPIO_InitStruct.Mode = GPIO_MODE_OUTPUT_PP;
  GPIO_InitStruct.Pull = GPIO_NOPULL;
  GPIO_InitStruct.Speed = GPIO_SPEED_FREQ_LOW;
  HAL_GPIO_Init(GPIOG, &GPIO_InitStruct);

  /*Configure GPIO pin : PG3 */
  GPIO_InitStruct.Pin = GPIO_PIN_3;
  GPIO_InitStruct.Mode = GPIO_MODE_IT_RISING;
  GPIO_InitStruct.Pull = GPIO_NOPULL;
  HAL_GPIO_Init(GPIOG, &GPIO_InitStruct);

  /*Configure GPIO pin : PA0 */
  GPIO_InitStruct.Pin = GPIO_PIN_0;
  GPIO_InitStruct.Mode = GPIO_MODE_INPUT;
  GPIO_InitStruct.Pull = GPIO_NOPULL;
  HAL_GPIO_Init(GPIOA, &GPIO_InitStruct);

  /*Configure GPIO pin : PA4 */
  GPIO_InitStruct.Pin = GPIO_PIN_4;
  GPIO_InitStruct.Mode = GPIO_MODE_OUTPUT_PP;
  GPIO_InitStruct.Pull = GPIO_NOPULL;
  GPIO_InitStruct.Speed = GPIO_SPEED_FREQ_LOW;
  HAL_GPIO_Init(GPIOA, &GPIO_InitStruct);

  /*Configure GPIO pins : INT1_ACCEL_Pin_Pin INT1_GRYO_Pin_Pin */
  GPIO_InitStruct.Pin = INT1_ACCEL_Pin_Pin|INT1_GRYO_Pin_Pin;
  GPIO_InitStruct.Mode = GPIO_MODE_IT_RISING;
  GPIO_InitStruct.Pull = GPIO_NOPULL;
  HAL_GPIO_Init(GPIOC, &GPIO_InitStruct);

  /*Configure GPIO pin : PB0 */
  GPIO_InitStruct.Pin = GPIO_PIN_0;
  GPIO_InitStruct.Mode = GPIO_MODE_OUTPUT_PP;
  GPIO_InitStruct.Pull = GPIO_NOPULL;
  GPIO_InitStruct.Speed = GPIO_SPEED_FREQ_LOW;
  HAL_GPIO_Init(GPIOB, &GPIO_InitStruct);

  /* EXTI interrupt init*/
  HAL_NVIC_SetPriority(EXTI3_IRQn, 5, 0);
  HAL_NVIC_EnableIRQ(EXTI3_IRQn);

  HAL_NVIC_SetPriority(EXTI4_IRQn, 5, 0);
  HAL_NVIC_EnableIRQ(EXTI4_IRQn);

}

/* USER CODE BEGIN 4 */
// allVars[] 0 = wasShooting, 1 = indexerTargetReached, 2 = indexerStopped, 3 = jammed, 4 = cantShoot;
void fondlerAutoReverse (int8_t allVars[5], int8_t RCSwitch, int8_t M2006IDX, int8_t reverseRotation, PID_preset_t indexerPreset) {
	int16_t flywheelSpeed = getMotorRPM(Bus1, M3508, 1);
    if (((pc_control.left_button_down == 1) && (flywheelSpeed > 7000) && (allVars[4] == 0)) || (RCSwitch == 1)) {
    	// setMotorRPM(Bus2, M2006, 6, (100), indexerPreset);
    	allVars[0] = 1;

		if (allVars[3] > 0 && allVars[2] == 0) {
			setMotorRPM(Bus1, M2006, M2006IDX, reverseRotation*15000, indexerPreset);
			allVars[3]--;
		} else {
			allVars[2] = 0;
			// usart_printf("BeansOutput1\r\n");
			setMotorRPM(Bus1, M2006, M2006IDX, -270*16*reverseRotation, indexerPreset);
			if (reverseRotation == 1) {
				if (allVars[1] == 0 && getMotorRPM(Bus1, M2006, M2006IDX) <= -10) {
					allVars[1] = 1;
				} else if (getMotorRPM(Bus1, M2006, M2006IDX) > -1 && allVars[1] == 1) {         // jammed
					allVars[3] = 12;
					allVars[1] = 0;
				}
			} else {
				if (allVars[1] == 0 && getMotorRPM(Bus1, M2006, M2006IDX) >= 10) {
					allVars[1] = 1;
				} else if (getMotorRPM(Bus1, M2006, M2006IDX) < 1 && allVars[1] == 1) {         // jammed
					allVars[3] = 12;
					allVars[1] = 0;
				}
			}
		}
    } else {
    	allVars[0] = 0;
    	allVars[2] = 1;
    	allVars[1] = 0;
    	setMotorRPM(Bus1, M2006, M2006IDX, 0, indexerPreset);
    }
}

/* USER CODE END 4 */

void TaskMain(void *argument)
{
  /* USER CODE BEGIN 5 */

	for(;;) {
		osDelay(5);

	}
  /* USER CODE END 5 */
}

void TaskChassis(void *argument)
{
  /* USER CODE BEGIN TaskChassis */
	PWMInit(&htim1, &htim4, &htim5, &htim8);

	PID_preset_t fondler = {3.0, 0.0, 0.0};
	PID_preset_t flywheels2 = {3.0, 0.0, 0.0};
	PID_preset_t flywheels = {7.0, 0.0, 0.0};
	PID_preset_t yawPresetVoltageRPM = {18.0, 0.0, 0.0};
	PID_preset_t pitchBoi = {20.0, 0.0, 80.0};
	PID_preset_t yawBoi = {50.0, 0.0, 0.0};

	int16_t returnScaler = 2;
	int8_t fondlerVars[2][5] = {{0, 0, 0, 0, 0}, {0, 0, 0, 0, 0}};

	int16_t currentAim = 2850;
  /* Infinite loop */
    for(;;) {
    	/*
    	setMotorRPM(Bus1, M2006, 5, 7000, YPVoltageRPM);
    	*/
    	// usart_printf("Beans %d\r\n", getMotorRPM(Bus1, M2006, 5));
    	// TURRET PITCH TOP = 3700
    	// TURRET PITCH BOTTOM = 2000
    	// DELTA PITCH = 1700

    	// FLywheel ID = 1, 2, 3, 4
    	// Indexers = 5, 6
    	// Pitch = 3
    	int16_t currentPos = getRCchannel(1);
    	if (getRCswitch(0) >= 2) {
    		uint16_t togoVal = ((currentPos)*1.28)+2850;
    		currentAim = togoVal;
    		setMotorPosition(Bus1, GM6020, 3, togoVal, pitchBoi);
    	} else {
    	// usart_printf("%d\r\n", getRotorPosition(Bus1, GM6020, 3));
    		int16_t currentPos1 = getRCchannel(1)*0.1;
    		currentAim -= currentPos1;
    		if (currentAim > 3700) {
    			currentAim = 3700;
    		} else if (currentAim < 2000) {
    			currentAim = 2000;
    		}
    	setMotorPosition(Bus1, GM6020, 3, currentAim, pitchBoi);
    	}
    	// usart_printf("%d\r\n", getRotorPosition(Bus1, GM6020, 6));
    	// usart_printf("%d %d %d %d\r\n", -1*getMotorRPM(Bus1, M3508, 1), getMotorRPM(Bus1, M3508, 2), getMotorRPM(Bus1, M3508, 3), -1*getMotorRPM(Bus1, M3508, 4));
        uint16_t speed = 5000;

        CAN_transmit(Bus2, 0x104, fourBitShift((uint16_t)(getRCchannel(0)+660), (uint16_t)(getRCchannel(1)+660), (uint16_t)(getRCchannel(2)+660), (uint16_t)(getRCchannel(3)+660)));
        //CAN_transmit(Bus1, 0x105, 0x1122334455667788);
        CAN_transmit(Bus2, 0x105, otherSignals((uint16_t)(getRCchannel(4)+660), getRCswitch(0), getRCswitch(1)));
        // CAN_transmit(Bus2, 0x105, 0x11223344);
        osDelay(2);

        CAN_setMotorCtrlVal(Bus1, M3508, 3, getRCchannel(0)*24);
        usart_printf("RPM: %d || Temp: %d\r\n",getMotorRPM(Bus1, M3508, 3), getMotorTemperature(Bus1, M3508, 3));

        if (getRCswitch(1) > 1) {
            // setMotorRPM(Bus1, M3508, 1, -1*speed, yawPresetVoltageRPM);
            setMotorRPM(Bus1, M3508, 2, speed, flywheels);
            osDelay(2);
            // setMotorRPM(Bus1, M3508, 3, speed, flywheels);
            osDelay(2);
            setMotorRPM(Bus1, M3508, 4, -1*speed, flywheels);
            osDelay(2);
            // setMotorRPM(Bus1, M3508, 1, -1*speed, flywheels);
            // usart_printf("Shooting\r\n");
            // usart_printf("On\r\n");
        } else {
        	// setMotorRPM(Bus1, M3508, 1, 0, yawPresetVoltageRPM);
        	setMotorRPM(Bus1, M3508, 2, 0, flywheels);
        	osDelay(2);
        	// setMotorRPM(Bus1, M3508, 3, 0, flywheels);
        	osDelay(2);
        	setMotorRPM(Bus1, M3508, 4, 0, flywheels);
        	osDelay(2);
        	// setMotorRPM(Bus1, M3508, 1, 0, flywheels);
        	// usart_printf("Off\r\n");
        }
        osDelay(2);

        setMotorRPM(Bus1, M2006, 1, getRCchannel(1)*14, flywheels2);
        osDelay(2);
        if (getRCswitch(1) == 2) {
        	fondlerAutoReverse (fondlerVars[0], 1, 5, -1, fondler);
        	osDelay(2);
        	fondlerAutoReverse (fondlerVars[1], 1, 6, 1, fondler);
        	/*
        	setMotorRPM(Bus1, M2006, 5, 5000, fondler);
        	osDelay(2);
        	setMotorRPM(Bus1, M2006, 6, -5000, fondler);
        	*/
        } else {
        	fondlerAutoReverse (fondlerVars[0], 0, 5, -1, fondler);
        	osDelay(2);
        	fondlerAutoReverse (fondlerVars[1], 0, 6, 1, fondler);
        	/*
        	setMotorRPM(Bus1, M3508, 5, 0, fondler);
        	osDelay(2);
        	setMotorRPM(Bus1, M2006, 6, 0, fondler);
        	*/
        }
        osDelay(2);
        setMotorRPM(Bus1, GM6020, 5, getRCchannel(4)*0.5, yawBoi);

        osDelay(2);
		PWMTimerStarter();
		RCkeysRefresh();
        osDelay(10);
    }

  /* USER CODE END TaskChassis */
}

__weak void imu_temp_control_task(void *argument)
{
  for(;;)
  {
    osDelay(1);
  }
}

void TaskTurret(void *argument)
{
  /* USER CODE BEGIN TaskTurret */
	// JoulesBuffer = 60;
  /* Infinite loop */
	for(;;)
	{
		osDelay(5);
	}
  /* USER CODE END TaskTurret */
}

void Error_Handler(void)
{
  __disable_irq();
  while (1)
  {
  }
}
